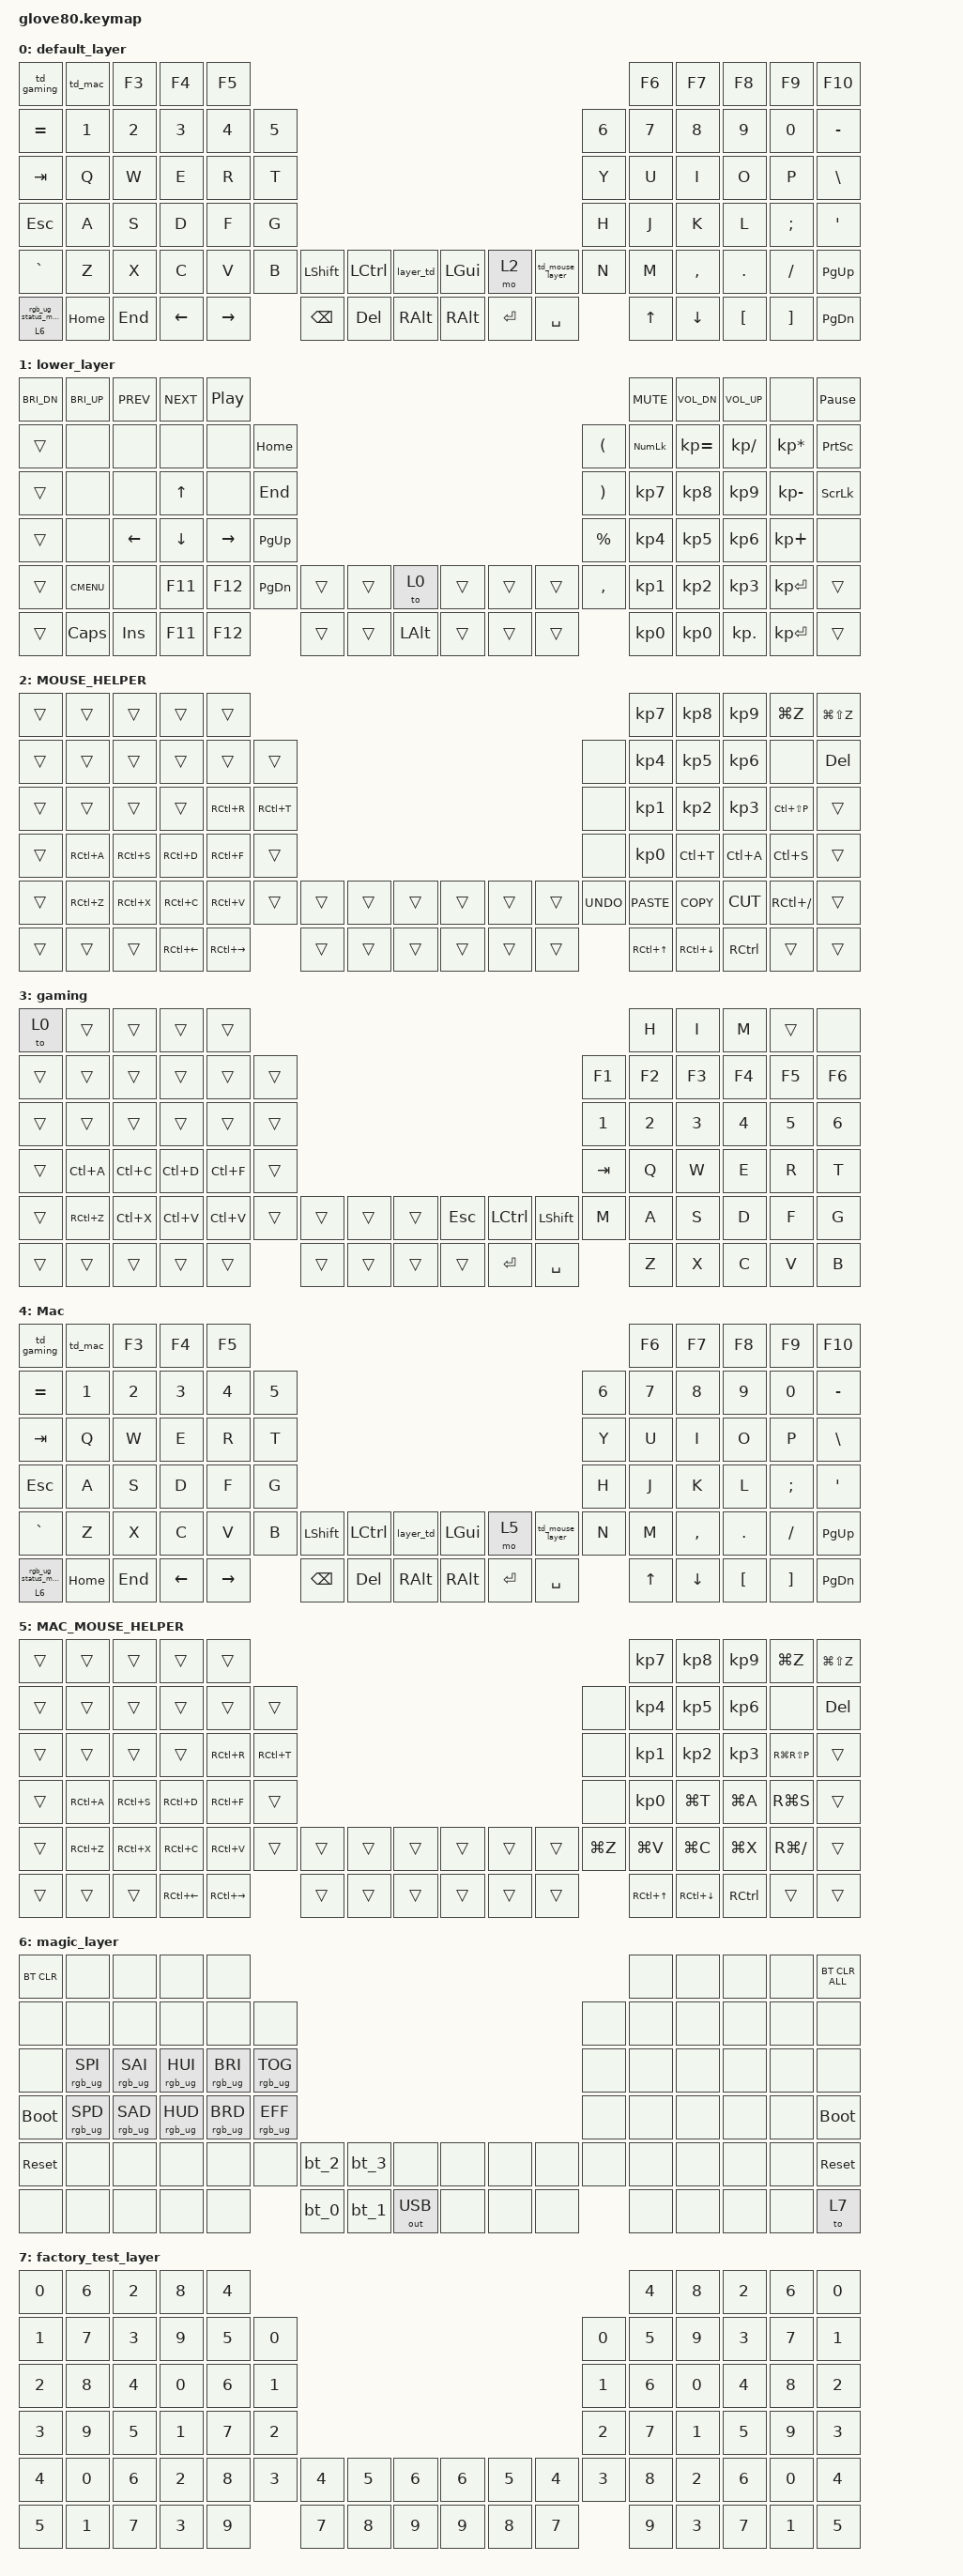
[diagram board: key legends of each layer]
/*
 * Copyright (c) 2020 The ZMK Contributors
 *
 * SPDX-License-Identifier: MIT
 */

#include <behaviors.dtsi>
#include <dt-bindings/zmk/bt.h>
#include <dt-bindings/zmk/keys.h>
#include <dt-bindings/zmk/outputs.h>
#include <dt-bindings/zmk/rgb.h>

#define HYPER LC(LS(LG(LALT)))

// layers

#define DEFAULT 0
#define LOWER 1
#define MAGIC 2
#define FACTORY_TEST 3

/ {
    behaviors {
        // For the "layer" key, it'd nice to be able to use it as either a shift or a toggle.
        // Configure it as a tap dance, so the first tap (or hold) is a &mo and the second tap is a &to

        layer_td: tap_dance_0 {
            compatible = "zmk,behavior-tap-dance";
            label = "LAYER_TAP_DANCE";
            #binding-cells = <0>;
            tapping-term-ms = <200>;
            bindings = <&mo 1>, <&to 1>;
        };

        magic: magic_hold_tap {
            compatible = "zmk,behavior-hold-tap";
            label = "MAGIC_HOLD_TAP";
            #binding-cells = <2>;
            flavor = "tap-preferred";
            tapping-term-ms = <200>;
            bindings = <&mo>, <&rgb_ug_status_macro>;
        };

        td_copy: td_copy {
            compatible = "zmk,behavior-tap-dance";
            label = "TD_COPY";
            #binding-cells = <0>;
            bindings = <&kp LC(C)>, <&kp LC(LS(C))>;
        };

        td_paste: td_paste {
            compatible = "zmk,behavior-tap-dance";
            label = "TD_PASTE";
            #binding-cells = <0>;
            bindings = <&kp LC(V)>, <&kp LC(LS(V))>;
        };

        td_tab: td_tab {
            compatible = "zmk,behavior-tap-dance";
            label = "TD_TAB";
            #binding-cells = <0>;
            bindings = <&kp LC(T)>, <&kp LS(LC(T))>;
        };

        td_mouse_layer: td_mouse_layer {
            compatible = "zmk,behavior-tap-dance";
            label = "TD_MOUSE_LAYER";
            #binding-cells = <0>;
            bindings = <&kp RIGHT_SHIFT>, <&mo 2>;
        };

        td_gaming: td_gaming {
            compatible = "zmk,behavior-tap-dance";
            label = "TD_GAMING";
            #binding-cells = <0>;
            bindings = <&kp F1>, <&to 3>;
        };

        td_mac: td_mac {
            compatible = "zmk,behavior-tap-dance";
            label = "TD_MAC";
            #binding-cells = <0>;
            bindings = <&kp F2>, <&to 4>, <&to 0>;
        };
    };

    macros {
        rgb_ug_status_macro: rgb_ug_status_macro_0 {
            label = "RGB_UG_STATUS";
            compatible = "zmk,behavior-macro";
            #binding-cells = <0>;
            bindings = <&rgb_ug RGB_STATUS>;
        };

        bt_0: bt_profile_macro_0 {
            label = "BT_0";
            compatible = "zmk,behavior-macro";
            #binding-cells = <0>;
            bindings = <&out OUT_BLE &bt BT_SEL 0>;
        };

        bt_1: bt_profile_macro_1 {
            label = "BT_1";
            compatible = "zmk,behavior-macro";
            #binding-cells = <0>;
            bindings = <&out OUT_BLE &bt BT_SEL 1>;
        };

        bt_2: bt_profile_macro_2 {
            label = "BT_2";
            compatible = "zmk,behavior-macro";
            #binding-cells = <0>;
            bindings = <&out OUT_BLE &bt BT_SEL 2>;
        };

        bt_3: bt_profile_macro_3 {
            label = "BT_3";
            compatible = "zmk,behavior-macro";
            #binding-cells = <0>;
            bindings = <&out OUT_BLE &bt BT_SEL 3>;
        };
    };

    keymap {
        compatible = "zmk,keymap";

        default_layer {
            // ---------------------------------------------------------------------------------------------------------------------------------
            // |  F1   |  F2 |  F3 |  F4  |  F5  |                                                               |  F6   |  F7   |  F8  |   F9  |  F10 |
            // |  =    |  1  |  2  |  3   |  4   |  5   |                                                 |  6   |   7   |   8   |  9   |   0   |   -  |
            // |  TAB  |  Q  |  W  |  E   |  R   |  T   |                                                 |  Y   |   U   |   I   |  O   |   P   |   \  |
            // |  ESC  |  A  |  S  |  D   |  F   |  G   |                                                 |  H   |   J   |   K   |  L   |   ;   |   '  |
            // |   `   |  Z  |  X  |  C   |  V   |  B   | LSHFT | LCTRL | LOWER | | LGUI  | RCTRL | RSHFT |  N   |   M   |   ,   |  .   |   /   | PGUP |
            // | MAGIC | HOME| END | LEFT | RIGHT|      | BSPC  | DEL   | LALT  | | RALT  | RET   | SPACE |      |  UP   | DOWN  |  [   |   ]   | PGDN |

            bindings = <
&td_gaming  &td_mac   &kp F3   &kp F4    &kp F5                                                                                          &kp F6  &kp F7     &kp F8    &kp F9    &kp F10
&kp EQUAL   &kp N1    &kp N2   &kp N3    &kp N4     &kp N5                                                                       &kp N6  &kp N7  &kp N8     &kp N9    &kp N0    &kp MINUS
&kp TAB     &kp Q     &kp W    &kp E     &kp R      &kp T                                                                        &kp Y   &kp U   &kp I      &kp O     &kp P     &kp BSLH
&kp ESC     &kp A     &kp S    &kp D     &kp F      &kp G                                                                        &kp H   &kp J   &kp K      &kp L     &kp SEMI  &kp SQT
&kp GRAVE   &kp Z     &kp X    &kp C     &kp V      &kp B   &kp LSHFT  &kp LCTRL  &layer_td  &kp LGUI  &mo 2    &td_mouse_layer  &kp N   &kp M   &kp COMMA  &kp DOT   &kp FSLH  &kp PG_UP
&magic 6 0  &kp HOME  &kp END  &kp LEFT  &kp RIGHT          &kp BSPC   &kp DEL    &kp RALT   &kp RALT  &kp RET  &kp SPACE                &kp UP  &kp DOWN   &kp LBKT  &kp RBKT  &kp PG_DN
            >;
        };

        lower_layer {
            bindings = <
&kp C_BRI_DN  &kp C_BRI_UP  &kp C_PREV  &kp C_NEXT  &kp C_PP                                                                           &kp C_MUTE  &kp C_VOL_DN  &kp C_VOL_UP   &none            &kp PAUSE_BREAK
&trans        &none         &none       &none       &none      &kp HOME                                                     &kp LPAR   &kp KP_NUM  &kp KP_EQUAL  &kp KP_DIVIDE  &kp KP_MULTIPLY  &kp PSCRN
&trans        &none         &none       &kp UP      &none      &kp END                                                      &kp RPAR   &kp KP_N7   &kp KP_N8     &kp KP_N9      &kp KP_MINUS     &kp SLCK
&trans        &none         &kp LEFT    &kp DOWN    &kp RIGHT  &kp PG_UP                                                    &kp PRCNT  &kp KP_N4   &kp KP_N5     &kp KP_N6      &kp KP_PLUS      &none
&trans        &kp K_CMENU   &none       &kp F11     &kp F12    &kp PG_DN  &trans  &trans  &to 0     &trans  &trans  &trans  &kp COMMA  &kp KP_N1   &kp KP_N2     &kp KP_N3      &kp KP_ENTER     &trans
&trans        &kp CAPS      &kp INS     &kp F11     &kp F12               &trans  &trans  &kp LALT  &trans  &trans  &trans             &kp KP_N0   &kp KP_N0     &kp KP_DOT     &kp KP_ENTER     &trans
            >;
        };

        mouse_helper {
            bindings = <
&trans  &trans     &trans     &trans              &trans                                                                                &kp KP_N7         &kp KP_N8           &kp KP_N9  &kp LG(Z)      &kp LG(LS(Z))
&trans  &trans     &trans     &trans              &trans         &trans                                                     &none       &kp KP_N4         &kp KP_N5           &kp KP_N6  &none          &kp DELETE
&trans  &trans     &trans     &trans              &kp RC(R)      &kp RC(T)                                                  &none       &kp KP_N1         &kp KP_NUMBER_2     &kp KP_N3  &kp LC(LS(P))  &trans
&trans  &kp RC(A)  &kp RC(S)  &kp RC(D)           &kp RC(F)      &trans                                                     &none       &kp KP_N0         &kp LC(T)           &kp LC(A)  &kp LC(S)      &trans
&trans  &kp RC(Z)  &kp RC(X)  &kp RC(C)           &kp RC(V)      &trans     &trans  &trans  &trans  &trans  &trans  &trans  &kp K_UNDO  &kp K_PASTE       &kp K_COPY          &kp K_CUT  &kp RC(FSLH)   &trans
&trans  &trans     &trans     &kp RC(LEFT_ARROW)  &kp RC(RIGHT)             &trans  &trans  &trans  &trans  &trans  &trans              &kp RC(UP_ARROW)  &kp RC(DOWN_ARROW)  &kp RCTRL  &trans         &trans
            >;

            label = "MOUSE_HELPER";
        };

        gaming {
            bindings = <
&to 0   &trans     &trans     &trans     &trans                                                                              &kp H   &kp I   &kp M   &trans  &none
&trans  &trans     &trans     &trans     &trans     &trans                                                          &kp F1   &kp F2  &kp F3  &kp F4  &kp F5  &kp F6
&trans  &trans     &trans     &trans     &trans     &trans                                                          &kp N1   &kp N2  &kp N3  &kp N4  &kp N5  &kp N6
&trans  &kp LC(A)  &kp LC(C)  &kp LC(D)  &kp LC(F)  &trans                                                          &kp TAB  &kp Q   &kp W   &kp E   &kp R   &kp T
&trans  &kp RC(Z)  &kp LC(X)  &kp LC(V)  &kp LC(V)  &trans  &trans  &trans  &trans  &kp ESC  &kp LCTRL  &kp LSHIFT  &kp M    &kp A   &kp S   &kp D   &kp F   &kp G
&trans  &trans     &trans     &trans     &trans             &trans  &trans  &trans  &trans   &kp ENTER  &kp SPACE            &kp Z   &kp X   &kp C   &kp V   &kp B
            >;
        };

        Mac {
            bindings = <
&td_gaming  &td_mac   &kp F3   &kp F4    &kp F5                                                                                          &kp F6  &kp F7     &kp F8    &kp F9    &kp F10
&kp EQUAL   &kp N1    &kp N2   &kp N3    &kp N4     &kp N5                                                                       &kp N6  &kp N7  &kp N8     &kp N9    &kp N0    &kp MINUS
&kp TAB     &kp Q     &kp W    &kp E     &kp R      &kp T                                                                        &kp Y   &kp U   &kp I      &kp O     &kp P     &kp BSLH
&kp ESC     &kp A     &kp S    &kp D     &kp F      &kp G                                                                        &kp H   &kp J   &kp K      &kp L     &kp SEMI  &kp SQT
&kp GRAVE   &kp Z     &kp X    &kp C     &kp V      &kp B   &kp LSHFT  &kp LCTRL  &layer_td  &kp LGUI  &mo 5    &td_mouse_layer  &kp N   &kp M   &kp COMMA  &kp DOT   &kp FSLH  &kp PG_UP
&magic 6 0  &kp HOME  &kp END  &kp LEFT  &kp RIGHT          &kp BSPC   &kp DEL    &kp RALT   &kp RALT  &kp RET  &kp SPACE                &kp UP  &kp DOWN   &kp LBKT  &kp RBKT  &kp PG_DN
            >;
        };

        MacMouseHelper {
            label = "MAC_MOUSE_HELPER";
            bindings = <
&trans  &trans     &trans     &trans              &trans                                                                               &kp KP_N7         &kp KP_N8           &kp KP_N9  &kp LG(Z)      &kp LG(LS(Z))
&trans  &trans     &trans     &trans              &trans         &trans                                                     &none      &kp KP_N4         &kp KP_N5           &kp KP_N6  &none          &kp DELETE
&trans  &trans     &trans     &trans              &kp RC(R)      &kp RC(T)                                                  &none      &kp KP_N1         &kp KP_NUMBER_2     &kp KP_N3  &kp RG(RS(P))  &trans
&trans  &kp RC(A)  &kp RC(S)  &kp RC(D)           &kp RC(F)      &trans                                                     &none      &kp KP_N0         &kp LG(T)           &kp LG(A)  &kp RG(S)      &trans
&trans  &kp RC(Z)  &kp RC(X)  &kp RC(C)           &kp RC(V)      &trans     &trans  &trans  &trans  &trans  &trans  &trans  &kp LG(Z)  &kp LG(V)         &kp LG(C)           &kp LG(X)  &kp RG(FSLH)   &trans
&trans  &trans     &trans     &kp RC(LEFT_ARROW)  &kp RC(RIGHT)             &trans  &trans  &trans  &trans  &trans  &trans             &kp RC(UP_ARROW)  &kp RC(DOWN_ARROW)  &kp RCTRL  &trans         &trans
            >;
        };

        magic_layer {
            bindings = <
&bt BT_CLR   &none            &none            &none            &none                                                                                     &none  &none  &none  &none  &bt BT_CLR_ALL
&none        &none            &none            &none            &none            &none                                                             &none  &none  &none  &none  &none  &none
&none        &rgb_ug RGB_SPI  &rgb_ug RGB_SAI  &rgb_ug RGB_HUI  &rgb_ug RGB_BRI  &rgb_ug RGB_TOG                                                   &none  &none  &none  &none  &none  &none
&bootloader  &rgb_ug RGB_SPD  &rgb_ug RGB_SAD  &rgb_ug RGB_HUD  &rgb_ug RGB_BRD  &rgb_ug RGB_EFF                                                   &none  &none  &none  &none  &none  &bootloader
&sys_reset   &none            &none            &none            &none            &none            &bt_2  &bt_3  &none         &none  &none  &none  &none  &none  &none  &none  &none  &sys_reset
&none        &none            &none            &none            &none                             &bt_0  &bt_1  &out OUT_USB  &none  &none  &none         &none  &none  &none  &none  &to 7
            >;
        };

        factory_test_layer {
            bindings = <
&kp N0  &kp N6  &kp N2  &kp N8  &kp N4                                                                  &kp N4  &kp N8  &kp N2  &kp N6  &kp N0
&kp N1  &kp N7  &kp N3  &kp N9  &kp N5  &kp N0                                                  &kp N0  &kp N5  &kp N9  &kp N3  &kp N7  &kp N1
&kp N2  &kp N8  &kp N4  &kp N0  &kp N6  &kp N1                                                  &kp N1  &kp N6  &kp N0  &kp N4  &kp N8  &kp N2
&kp N3  &kp N9  &kp N5  &kp N1  &kp N7  &kp N2                                                  &kp N2  &kp N7  &kp N1  &kp N5  &kp N9  &kp N3
&kp N4  &kp N0  &kp N6  &kp N2  &kp N8  &kp N3  &kp N4  &kp N5  &kp N6  &kp N6  &kp N5  &kp N4  &kp N3  &kp N8  &kp N2  &kp N6  &kp N0  &kp N4
&kp N5  &kp N1  &kp N7  &kp N3  &kp N9          &kp N7  &kp N8  &kp N9  &kp N9  &kp N8  &kp N7          &kp N9  &kp N3  &kp N7  &kp N1  &kp N5
            >;
        };
    };
};
